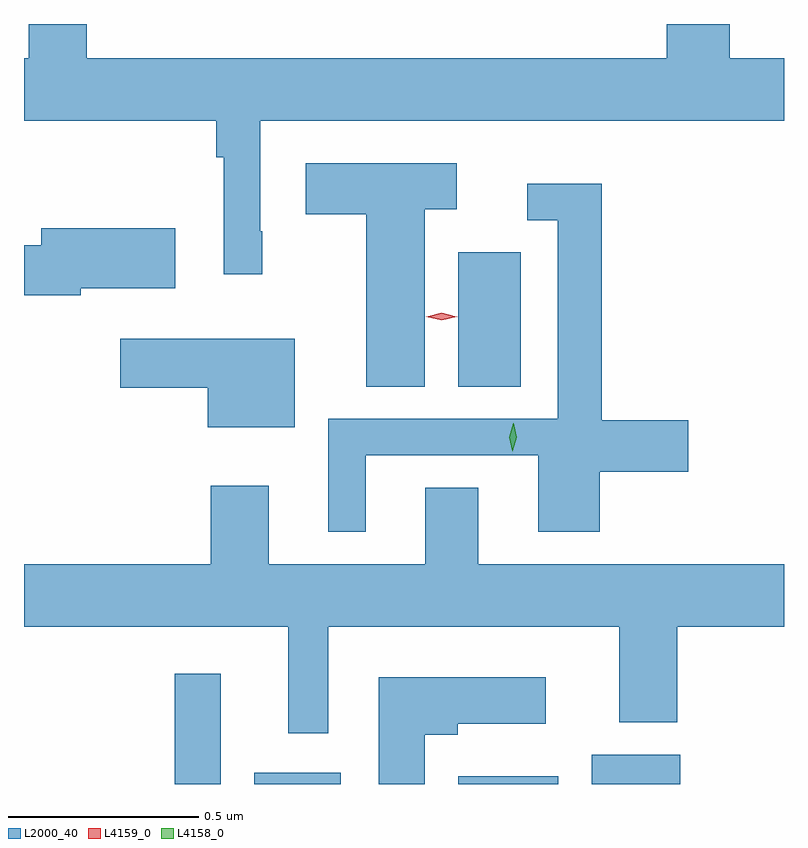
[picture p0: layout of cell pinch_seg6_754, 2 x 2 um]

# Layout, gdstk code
import gdstk
lib = gdstk.Library(unit=1e-6, precision=1e-09)
def R(c, l, rs):  # rectangles x0, y0, x1, y1
    for r in rs: c.add(gdstk.rectangle(r[:2], r[2:], *l))
def P(c, l, *ps):  # polygons
    for p in ps: c.add(gdstk.Polygon(p, *l))
L2000_40 = (2000, 40)
L4158_0 = (4158, 0)
L4159_0 = (4159, 0)

pinch_seg6_754 = lib.new_cell('pinch_seg6_754')
R(pinch_seg6_754, L2000_40, [(623.922,938.93,624.043,939.22), (624.131,938.93,624.358,938.959), (624.668,938.93,624.931,938.95), (625.019,938.93,625.252,939.007), (624.668,939.976,624.832,940.33)])
P(pinch_seg6_754, L2000_40, [(624.152,940.384),(624.147,940.384),(624.147,940.676),(625.525,940.676),(625.525,940.84),(625.382,940.84),(625.382,940.93),(625.217,940.93),(625.217,940.84),(623.69,940.84),(623.69,940.93),(623.537,940.93),(623.537,940.84),(623.525,940.84),(623.525,940.676),(624.031,940.676),(624.031,940.58),(624.051,940.58),(624.051,940.272),(624.152,940.272)],
  [(624.58,940.442),(624.664,940.442),(624.664,940.564),(624.267,940.564),(624.267,940.43),(624.425,940.43),(624.425,939.976),(624.58,939.976)],
  [(624.424,939.795),(624.878,939.795),(624.878,939.594),(625.04,939.594),(625.04,939.752),(625.273,939.752),(625.273,939.887),(625.046,939.887),(625.046,940.51),(624.849,940.51),(624.849,940.413),(624.93,940.413),(624.93,939.891),(624.326,939.891),(624.326,939.594),(624.424,939.594)],
  [(623.674,940.235),(623.923,940.235),(623.923,940.393),(623.57,940.393),(623.57,940.348),(623.525,940.348),(623.525,940.216),(623.674,940.216)],
  [(624.238,940.102),(623.778,940.102),(623.778,939.973),(624.008,939.973),(624.008,939.869),(624.238,939.869)],
  [(624.325,939.344),(625.091,939.344),(625.091,939.092),(625.244,939.092),(625.244,939.344),(625.525,939.344),(625.525,939.508),(624.721,939.508),(624.721,939.71),(624.581,939.71),(624.581,939.508),(624.169,939.508),(624.169,939.715),(624.017,939.715),(624.017,939.508),(623.525,939.508),(623.525,939.344),(624.221,939.344),(624.221,939.063),(624.325,939.063)],
  [(624.58,939.059),(624.667,939.059),(624.667,939.089),(624.898,939.089),(624.898,939.211),(624.458,939.211),(624.458,938.93),(624.58,938.93)])
P(pinch_seg6_754, L4158_0, [(624.811,939.806),(624.81,939.807),(624.802,939.843),(624.813,939.879),(624.813,939.879),(624.814,939.879),(624.822,939.842),(624.811,939.807)])
P(pinch_seg6_754, L4159_0, [(624.624,940.15),(624.584,940.16),(624.584,940.16),(624.584,940.16),(624.624,940.17),(624.664,940.16),(624.665,940.16),(624.664,940.16)])

lib.write_gds('pinch_seg6_754.gds')
